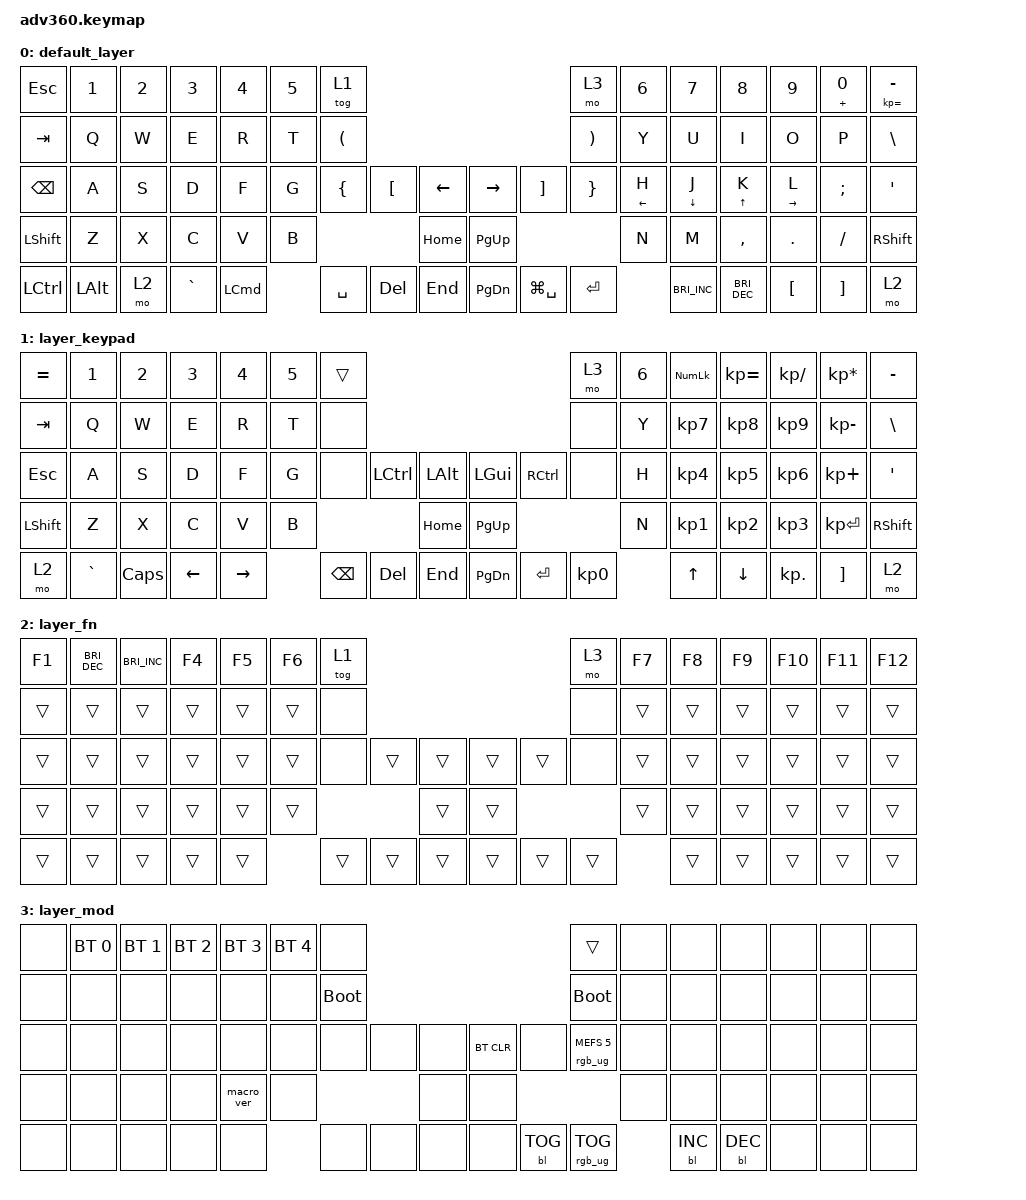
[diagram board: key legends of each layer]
/*
 * Copyright (c) 2020 The ZMK Contributors
 *
 * SPDX-License-Identifier: MIT
 */
/* THIS FILE WAS GENERATED!
 *
 * This file was generated automatically. You may or may not want to
 * edit it directly.
 */

#include <behaviors.dtsi>
#include <dt-bindings/zmk/backlight.h>
#include <dt-bindings/zmk/bt.h>
#include <dt-bindings/zmk/keys.h>
#include <dt-bindings/zmk/rgb.h>

&mt {
    flavor = "tap-preferred";
    tapping-term-ms = <180>;
};

/ {
    behaviors {
        #include "macros.dtsi"
    #include "version.dtsi"
    };

    keymap {
        compatible = "zmk,keymap";

        default_layer {
            bindings = <
&kp ESCAPE        &kp N1        &kp N2  &kp N3     &kp N4            &kp N5  &tog 1                                                                                    &mo 3                  &kp N6            &kp N7                &kp N8                &kp N9             &mt PLUS NUMBER_0  &mt KP_EQUAL MINUS
&kp TAB           &kp Q         &kp W   &kp E      &kp R             &kp T   &kp LEFT_PARENTHESIS                                                                      &kp RIGHT_PARENTHESIS  &kp Y             &kp U                 &kp I                 &kp O              &kp P              &kp BSLH
&kp BACKSPACE     &kp A         &kp S   &kp D      &kp F             &kp G   &kp LEFT_BRACE        &kp LEFT_BRACKET  &kp LEFT      &kp RIGHT_ARROW  &kp RIGHT_BRACKET  &kp RIGHT_BRACE        &mt LEFT_ARROW H  &mt DOWN_ARROW J      &mt UP_ARROW K        &mt RIGHT_ARROW L  &kp SEMI           &kp SQT
&kp LSHFT         &kp Z         &kp X   &kp C      &kp V             &kp B                                           &kp HOME      &kp PG_UP                                                  &kp N             &kp M                 &kp COMMA             &kp DOT            &kp FSLH           &kp RSHFT
&kp LEFT_CONTROL  &kp LEFT_ALT  &mo 2   &kp GRAVE  &kp LEFT_COMMAND          &kp SPACE             &kp DELETE        &kp END       &kp PG_DN        &kp LG(SPACE)      &kp ENTER                                &kp C_BRIGHTNESS_INC  &kp C_BRIGHTNESS_DEC  &kp LBKT           &kp RBKT           &mo 2
            >;
        };

        layer_keypad {
            bindings = <
&kp EQUAL  &kp N1     &kp N2    &kp N3    &kp N4     &kp N5  &trans                                                   &mo 3      &kp N6  &kp KP_NUM  &kp KP_EQUAL  &kp KP_DIVIDE  &kp KP_MULTIPLY  &kp MINUS
&kp TAB    &kp Q      &kp W     &kp E     &kp R      &kp T   &none                                                    &none      &kp Y   &kp KP_N7   &kp KP_N8     &kp KP_N9      &kp KP_MINUS     &kp BSLH
&kp ESC    &kp A      &kp S     &kp D     &kp F      &kp G   &none     &kp LCTRL  &kp LALT      &kp LGUI   &kp RCTRL  &none      &kp H   &kp KP_N4   &kp KP_N5     &kp KP_N6      &kp KP_PLUS      &kp SQT
&kp LSHFT  &kp Z      &kp X     &kp C     &kp V      &kp B                        &kp HOME      &kp PG_UP                        &kp N   &kp KP_N1   &kp KP_N2     &kp KP_N3      &kp KP_ENTER     &kp RSHFT
&mo 2      &kp GRAVE  &kp CAPS  &kp LEFT  &kp RIGHT          &kp BSPC  &kp DEL    &kp END       &kp PG_DN  &kp ENTER  &kp KP_N0          &kp UP      &kp DOWN      &kp KP_DOT     &kp RBKT         &mo 2
            >;
        };

        layer_fn {
            bindings = <
&kp F1  &kp C_BRI_DEC  &kp C_BRI_INC  &kp F4  &kp F5  &kp F6  &tog 1                                      &mo 3   &kp F7  &kp F8  &kp F9  &kp F10  &kp F11  &kp F12
&trans  &trans         &trans         &trans  &trans  &trans  &none                                       &none   &trans  &trans  &trans  &trans   &trans   &trans
&trans  &trans         &trans         &trans  &trans  &trans  &none   &trans  &trans      &trans  &trans  &none   &trans  &trans  &trans  &trans   &trans   &trans
&trans  &trans         &trans         &trans  &trans  &trans                  &trans      &trans                  &trans  &trans  &trans  &trans   &trans   &trans
&trans  &trans         &trans         &trans  &trans          &trans  &trans  &trans      &trans  &trans  &trans          &trans  &trans  &trans   &trans   &trans
            >;
        };

        layer_mod {
            bindings = <
&none  &bt BT_SEL 0  &bt BT_SEL 1  &bt BT_SEL 2  &bt BT_SEL 3  &bt BT_SEL 4  &none                                                  &trans                  &none  &none       &none       &none  &none  &none
&none  &none         &none         &none         &none         &none         &bootloader                                            &bootloader             &none  &none       &none       &none  &none  &none
&none  &none         &none         &none         &none         &none         &none        &none  &none      &bt BT_CLR  &none       &rgb_ug RGB_MEFS_CMD 5  &none  &none       &none       &none  &none  &none
&none  &none         &none         &none         &macro_ver    &none                             &none      &none                                           &none  &none       &none       &none  &none  &none
&none  &none         &none         &none         &none                       &none        &none  &none      &none       &bl BL_TOG  &rgb_ug RGB_TOG                &bl BL_INC  &bl BL_DEC  &none  &none  &none
            >;
        };
    };
};
